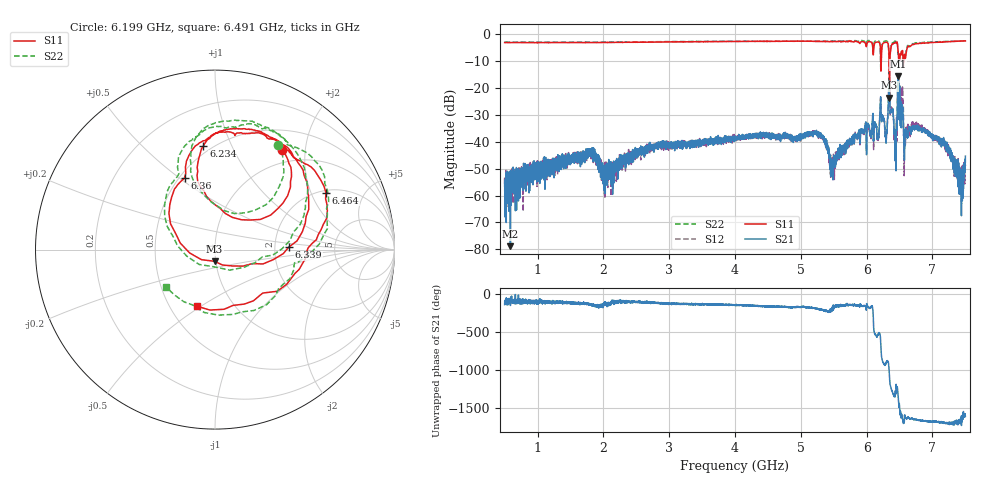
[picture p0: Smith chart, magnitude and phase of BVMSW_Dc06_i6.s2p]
!Keysight Technologies,M9374A,MY55442783,A.12.55.05
!Date: Friday, May 21, 2021 10:20:26
!Correction: S11(Full 2 Port(1,2))
!S21(Full 2 Port(1,2))
!S12(Full 2 Port(1,2))
!S22(Full 2 Port(1,2))
!S2P File: Measurements: S11, S21, S12, S22:
# Hz S  RI  R 50
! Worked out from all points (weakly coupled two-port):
!   7001 points, 500 MHz to 7.5 GHz, reference 50 ohm
!   highest |S21| = -15.67 dB at 6.478 GHz (marker M1); lowest = -78.8 dB at 588 MHz (marker M2)
!   lowest |S11| = -23.7 dB at 6.347 GHz (marker M3), VSWR 1.14, Z = 49.3 - j6.46 ohm
!   |S11| at or under -10 dB: 6.213777 GHz to 6.222516 GHz (8.739 MHz wide, 0.141 % of centre); 6.341252 GHz to 6.352762 GHz (11.51 MHz wide, 0.181 % of centre); 6.552813 GHz to 6.565826 GHz (13.01 MHz wide, 0.198 % of centre) (the widest 3 of 4)
!   |S22| runs from -20.2 to -2.4 dB; largest |S21 - S12| = 0.14
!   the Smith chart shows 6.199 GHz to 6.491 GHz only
!   S11 on the Smith chart (normalised r, x): 6.199 GHz: 0.78, +1.58; 6.234 GHz: 0.45, +0.79; 6.339 GHz: 2.40, +0.08; 6.36 GHz: 0.53, +0.52; 6.464 GHz: 2.10, +2.57; 6.491 GHz: 0.68, -0.48
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5e8  -0.6835 0.1046  -0.00121 -0.000888  -0.000529 -0.00154  -0.6971 0.0986
5.88e8  -0.681 0.1198  -0.000104 -4.76e-05  -0.00117 -0.0016  -0.6948 0.1164
1.667e9  -0.6102 0.3229  -0.00358 -0.00421  -0.0034 -0.00399  -0.6314 0.3117
2.118e9  -0.5712 0.401  -0.00183 -0.00214  -0.00162 -0.00201  -0.5962 0.383
2.834e9  -0.4909 0.5094  -0.00404 -0.00781  -0.00497 -0.00742  -0.518 0.4956
4e9  -0.3147 0.6549  -0.00982 -0.00625  -0.00964 -0.00441  -0.3517 0.6375
5.167e9  -0.0833 0.7236  -0.0136 0.000623  -0.0145 0.000748  -0.1615 0.72
5.479e9  -0.0179 0.7226  -0.00164 0.0017  -0.00358 0.00154  -0.1088 0.7231
6.199e9  0.3732 0.5573  -0.0258 -0.00728  -0.0265 -0.0076  0.3532 0.5842
6.234e9  -0.0647 0.5766  -0.0218 -0.0191  -0.0236 -0.0204  -0.0879 0.646
6.334e9  0.5224 0.2251  -0.079 0.04  -0.0784 0.0424  0.4747 0.14
6.339e9  0.4112 0.014  -0.0221 0.1132  -0.0223 0.112  0.2644 -0.0403
6.347e9  -0.00264 -0.0652  0.0918 -0.0339  0.0856 -0.0284  -0.231 0.0679
6.36e9  -0.1699 0.3991  -0.0178 -0.0287  -0.0132 -0.031  -0.2063 0.445
6.429e9  0.2796 0.6357  -0.00154 0.0117  -0.00465 0.0126  0.2521 0.6788
6.464e9  0.6183 0.317  -0.018 -0.0179  -0.0136 -0.0222  0.6333 0.2666
6.478e9  0.4693 -0.1098  -0.0169 0.1637  -0.0363 0.1728  0.417 -0.1623
6.491e9  -0.0992 -0.3159  0.0501 -0.0429  0.1043 -0.0765  -0.2738 -0.2079
6.596e9  -0.2316 0.3318  -0.017 0.000462  -0.014 -0.0105  -0.2979 0.3424
7.155e9  0.0137 0.7071  -0.00439 0.00867  -0.00364 0.00998  -0.0382 0.7204
7.436e9  0.0719 0.7348  -0.00134 0.00112  -0.00298 0.00069  0.00803 0.7375
7.5e9  0.0876 0.7374  -0.00506 -0.00179  -0.00294 -0.00222  0.0259 0.7387
